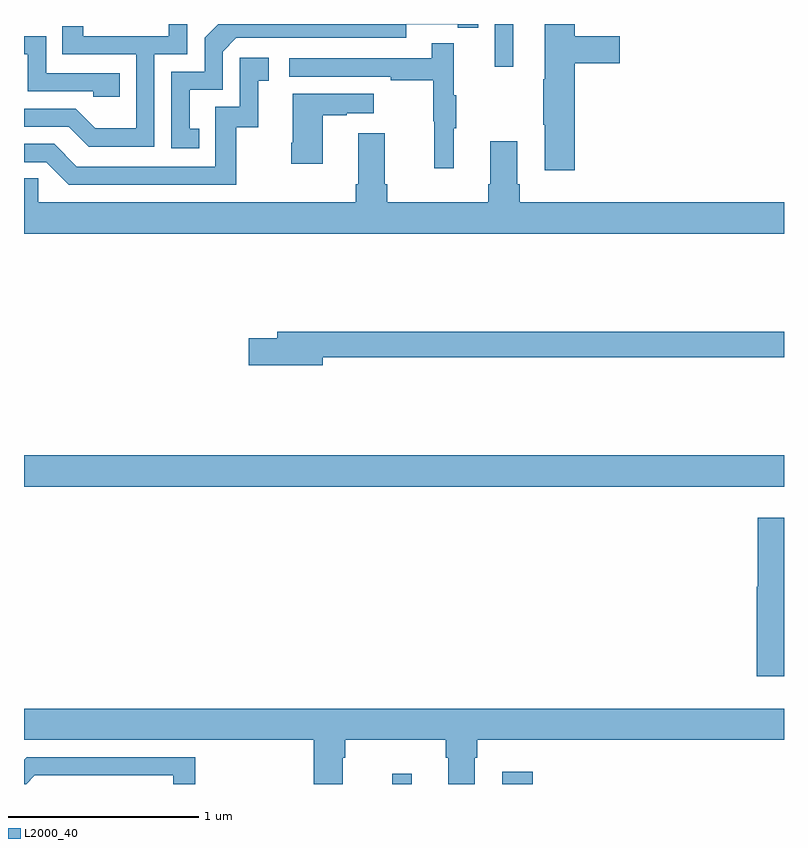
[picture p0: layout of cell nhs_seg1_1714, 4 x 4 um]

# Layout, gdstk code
import gdstk
lib = gdstk.Library(unit=1e-6, precision=1e-09)
def R(c, l, rs):  # rectangles x0, y0, x1, y1
    for r in rs: c.add(gdstk.rectangle(r[:2], r[2:], *l))
def P(c, l, *ps):  # polygons
    for p in ps: c.add(gdstk.Polygon(p, *l))
L2000_40 = (2000, 40)

nhs_seg1_1714 = lib.new_cell('nhs_seg1_1714')
R(nhs_seg1_1714, L2000_40, [(206.938,518.199,207.041,518.254), (207.518,518.199,207.677,518.263), (205,519.764,209,519.928), (207.477,521.973,207.574,522.199)])
P(nhs_seg1_1714, L2000_40, [(207.899,521.993),(208.135,521.993),(208.135,522.135),(207.899,522.135),(207.899,522.199),(207.74,522.199),(207.74,521.909),(207.733,521.909),(207.733,521.668),(207.74,521.668),(207.74,521.43),(207.899,521.43)],
  [(205.922,521.649),(205.873,521.649),(205.873,521.853),(206.046,521.853),(206.046,522.054),(206.118,522.126),(207.012,522.126),(207.012,522.198),(207.284,522.198),(207.284,522.178),(207.392,522.178),(207.392,522.199),(206.023,522.199),(205.95,522.126),(205.95,521.949),(205.776,521.949),(205.776,521.544),(205.922,521.544)],
  [(205.686,522.039),(205.86,522.039),(205.86,522.199),(205.763,522.199),(205.763,522.135),(205.312,522.135),(205.312,522.187),(205.201,522.187),(205.201,522.039),(205.59,522.039),(205.59,521.65),(205.376,521.65),(205.272,521.754),(205,521.754),(205,521.658),(205.235,521.658),(205.34,521.553),(205.686,521.553)],
  [(205.505,521.94),(205.116,521.94),(205.116,522.135),(205,522.135),(205,522.039),(205.02,522.039),(205.02,521.844),(205.365,521.844),(205.365,521.817),(205.505,521.817)],
  [(207.263,521.651),(207.274,521.651),(207.274,521.825),(207.263,521.825),(207.263,522.097),(207.145,522.097),(207.145,522.018),(206.397,522.018),(206.397,521.922),(206.929,521.922),(206.929,521.902),(207.153,521.902),(207.153,521.688),(207.16,521.688),(207.16,521.439),(207.263,521.439)],
  [(206.116,521.655),(206.234,521.655),(206.234,521.901),(206.287,521.901),(206.287,522.022),(206.136,522.022),(206.136,521.763),(206.007,521.763),(206.007,521.448),(205.278,521.448),(205.158,521.568),(205,521.568),(205,521.472),(205.116,521.472),(205.236,521.352),(206.116,521.352)],
  [(206.572,521.719),(206.699,521.719),(206.699,521.729),(206.842,521.729),(206.842,521.833),(206.414,521.833),(206.414,521.575),(206.407,521.575),(206.407,521.463),(206.572,521.463)],
  [(209,521.26),(207.608,521.26),(207.608,521.356),(207.595,521.356),(207.595,521.581),(207.455,521.581),(207.455,521.356),(207.443,521.356),(207.443,521.26),(206.912,521.26),(206.912,521.356),(206.899,521.356),(206.899,521.623),(206.759,521.623),(206.759,521.356),(206.747,521.356),(206.747,521.26),(205.074,521.26),(205.074,521.387),(205,521.387),(205,521.096),(209,521.096)],
  [(206.572,520.444),(209,520.444),(209,520.58),(206.333,520.58),(206.333,520.544),(206.184,520.544),(206.184,520.402),(206.572,520.402)],
  [(209,519.601),(208.862,519.601),(208.862,519.237),(208.856,519.237),(208.856,518.766),(209,518.766)],
  [(206.677,518.336),(206.69,518.336),(206.69,518.432),(207.221,518.432),(207.221,518.336),(207.233,518.336),(207.233,518.199),(207.373,518.199),(207.373,518.336),(207.386,518.336),(207.386,518.432),(209,518.432),(209,518.596),(205,518.596),(205,518.432),(206.525,518.432),(206.525,518.199),(206.677,518.199)],
  [(205.056,518.244),(205.785,518.244),(205.785,518.199),(205.901,518.199),(205.901,518.34),(205.014,518.34),(205,518.326),(205,518.199),(205.011,518.199)])

lib.write_gds('nhs_seg1_1714.gds')
